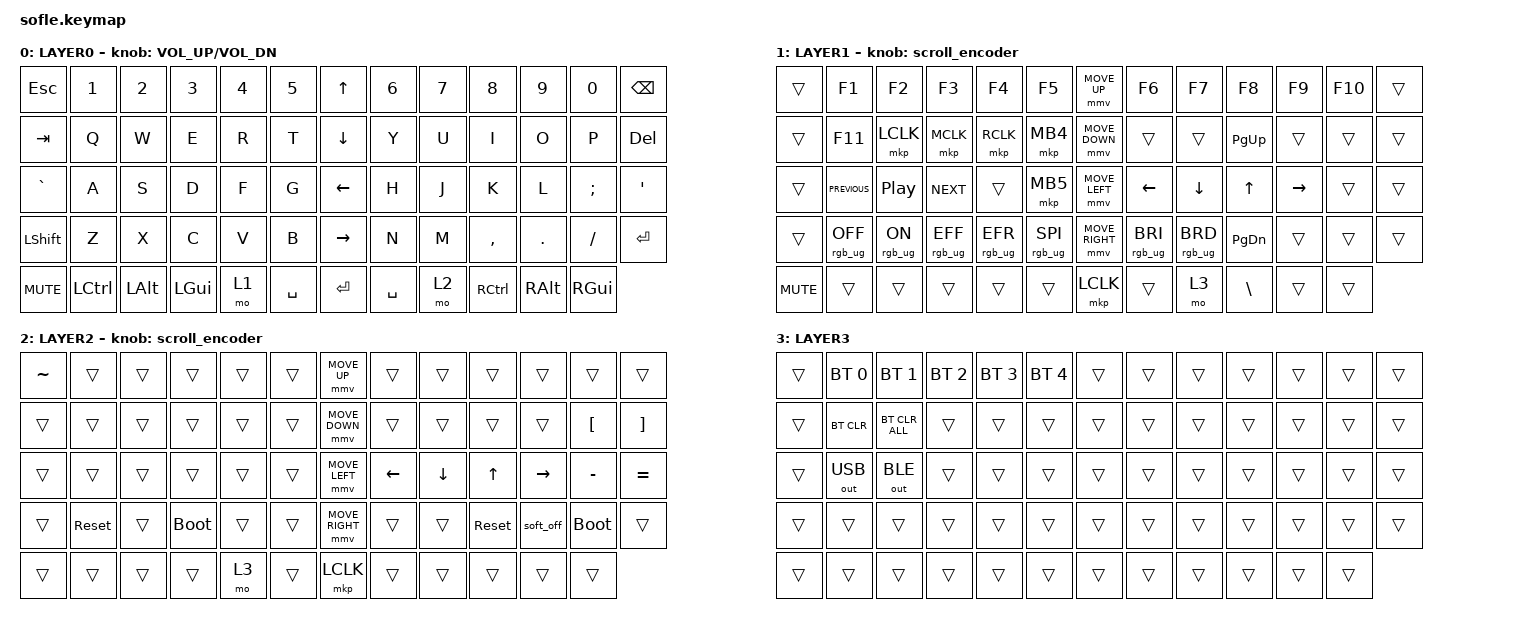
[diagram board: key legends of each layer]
#include <behaviors/mouse_keys.dtsi>
#include <behaviors.dtsi>
#include <dt-bindings/zmk/bt.h>
#include <dt-bindings/zmk/keys.h>
#include <dt-bindings/zmk/mouse.h>
#include <dt-bindings/zmk/outputs.h>
#include <dt-bindings/zmk/rgb.h>

#define ZMK_MOUSE_DEFAULT_MOVE_VAL 1200  // 600
#define ZMK_MOUSE_DEFAULT_SCRL_VAL 20    // 10
#define U_MS_U &mmv MOVE_UP
#define U_MS_D &mmv MOVE_DOWN
#define U_MS_L &mmv MOVE_LEFT
#define U_MS_R &mmv MOVE_RIGHT
#define ZMK_MOUSE_DEFAULT_MOVE_VAL 1200  //  600
#define ZMK_MOUSE_DEFAULT_SCRL_VAL 20    // 10

/ {
    behaviors {
        mmv {
            acceleration-exponent = <1>;      // 1
            time-to-max-speed-ms = <900>;    // 40
            delay-ms = <0>;                   // 0
        };

        msc {
            acceleration-exponent = <1>;      // 0
            time-to-max-speed-ms = <400>;      // 500
            delay-ms = <0>;                   //   10
        };
    };

    scroll_encoder: scroll_encoder {
        compatible = "zmk,behavior-sensor-rotate";
        #sensor-binding-cells = <0>;
        bindings = <&msc SCRL_DOWN>, <&msc SCRL_UP>;

        tap-ms = <30>;
    };

    keymap {
        compatible = "zmk,keymap";

        layer0 {
            bindings = <
&kp ESC     &kp N1     &kp N2        &kp N3        &kp N4  &kp N5       &kp UP_ARROW     &kp N6     &kp N7  &kp N8     &kp N9         &kp N0         &kp BACKSPACE
&kp TAB     &kp Q      &kp W         &kp E         &kp R   &kp T        &kp DOWN_ARROW   &kp Y      &kp U   &kp I      &kp O          &kp P          &kp DELETE
&kp GRAVE   &kp A      &kp S         &kp D         &kp F   &kp G        &kp LEFT_ARROW   &kp H      &kp J   &kp K      &kp L          &kp SEMICOLON  &kp SINGLE_QUOTE
&kp LSHFT   &kp Z      &kp X         &kp C         &kp V   &kp B        &kp RIGHT_ARROW  &kp N      &kp M   &kp COMMA  &kp PERIOD     &kp SLASH      &kp ENTER
&kp C_MUTE  &kp LCTRL  &kp LEFT_ALT  &kp LEFT_GUI  &mo 1   &kp SPACE    &kp ENTER        &kp SPACE  &mo 2   &kp RCTRL  &kp RIGHT_ALT  &kp RIGHT_GUI
            >;

            sensor-bindings = <&inc_dec_kp C_VOLUME_UP C_VOL_DN>;
            display-name = "LAYER0";
        };

        layer_1 {
            bindings = <
&trans      &kp F1           &kp F2            &kp F3           &kp F4           &kp F5             &mmv MOVE_UP     &kp F6           &kp F7           &kp F8         &kp F9     &kp F10  &trans
&trans      &kp F11          &mkp LCLK         &mkp MCLK        &mkp RCLK        &mkp MB4           &mmv MOVE_DOWN   &trans           &trans           &kp PAGE_UP    &trans     &trans   &trans
&trans      &kp C_PREVIOUS   &kp C_PLAY_PAUSE  &kp C_NEXT       &trans           &mkp MB5           &mmv MOVE_LEFT   &kp LEFT_ARROW   &kp DOWN_ARROW   &kp UP_ARROW   &kp RIGHT  &trans   &trans
&trans      &rgb_ug RGB_OFF  &rgb_ug RGB_ON    &rgb_ug RGB_EFF  &rgb_ug RGB_EFR  &rgb_ug RGB_SPI    &mmv MOVE_RIGHT  &rgb_ug RGB_BRI  &rgb_ug RGB_BRD  &kp PAGE_DOWN  &trans     &trans   &trans
&kp C_MUTE  &trans           &trans            &trans           &trans           &trans             &mkp LCLK        &trans           &mo 3            &kp BACKSLASH  &trans     &trans
            >;

            display-name = "LAYER1";
            sensor-bindings = <&scroll_encoder>;
        };

        layer_2 {
            bindings = <
&kp TILDE  &trans      &trans  &trans       &trans  &trans    &mmv MOVE_UP     &trans          &trans    &trans        &trans     &trans            &trans
&trans     &trans      &trans  &trans       &trans  &trans    &mmv MOVE_DOWN   &trans          &trans    &trans        &trans     &kp LEFT_BRACKET  &kp RIGHT_BRACKET
&trans     &trans      &trans  &trans       &trans  &trans    &mmv MOVE_LEFT   &kp LEFT_ARROW  &kp DOWN  &kp UP_ARROW  &kp RIGHT  &kp MINUS         &kp EQUAL
&trans     &sys_reset  &trans  &bootloader  &trans  &trans    &mmv MOVE_RIGHT  &trans          &trans    &sys_reset    &soft_off  &bootloader       &trans
&trans     &trans      &trans  &trans       &mo 3   &trans    &mkp LCLK        &trans          &trans    &trans        &trans     &trans
            >;

            sensor-bindings = <&scroll_encoder>;
            label = "LAYER2";
        };

        layer_3 {
            bindings = <
&trans  &bt BT_SEL 0  &bt BT_SEL 1    &bt BT_SEL 2  &bt BT_SEL 3  &bt BT_SEL 4    &trans  &trans  &trans  &trans  &trans  &trans  &trans
&trans  &bt BT_CLR    &bt BT_CLR_ALL  &trans        &trans        &trans          &trans  &trans  &trans  &trans  &trans  &trans  &trans
&trans  &out OUT_USB  &out OUT_BLE    &trans        &trans        &trans          &trans  &trans  &trans  &trans  &trans  &trans  &trans
&trans  &trans        &trans          &trans        &trans        &trans          &trans  &trans  &trans  &trans  &trans  &trans  &trans
&trans  &trans        &trans          &trans        &trans        &trans          &trans  &trans  &trans  &trans  &trans  &trans
            >;

            label = "LAYER3";
        };
    };
};
